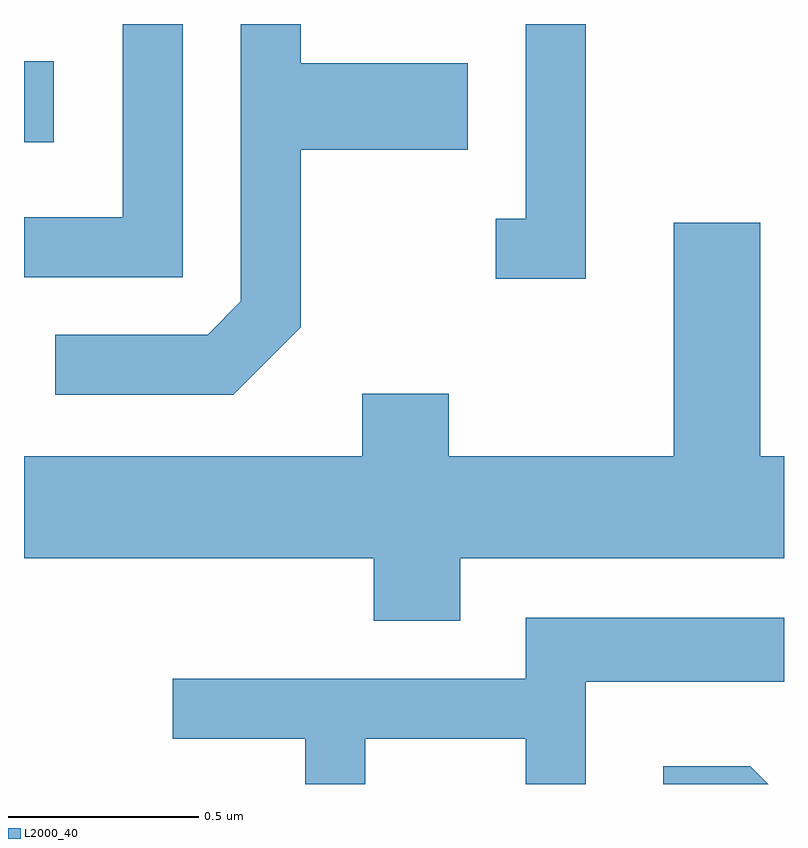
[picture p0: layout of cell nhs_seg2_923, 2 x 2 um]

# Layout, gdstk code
import gdstk
lib = gdstk.Library(unit=1e-6, precision=1e-09)
def R(c, l, rs):  # rectangles x0, y0, x1, y1
    for r in rs: c.add(gdstk.rectangle(r[:2], r[2:], *l))
def P(c, l, *ps):  # polygons
    for p in ps: c.add(gdstk.Polygon(p, *l))
L2000_40 = (2000, 40)

nhs_seg2_923 = lib.new_cell('nhs_seg2_923')
R(nhs_seg2_923, L2000_40, [(191.611,1080.491,191.689,1080.704)])
P(nhs_seg2_923, L2000_40, [(192.029,1080.802),(191.871,1080.802),(191.871,1080.294),(191.611,1080.294),(191.611,1080.136),(192.029,1080.136)],
  [(192.339,1080.004),(192.339,1080.471),(192.779,1080.471),(192.779,1080.699),(192.339,1080.699),(192.339,1080.802),(192.181,1080.802),(192.181,1080.072),(192.094,1079.984),(191.693,1079.984),(191.693,1079.826),(192.162,1079.826)],
  [(193.089,1080.802),(192.931,1080.802),(192.931,1080.289),(192.853,1080.289),(192.853,1080.131),(193.089,1080.131)],
  [(192.759,1079.396),(193.611,1079.396),(193.611,1079.664),(193.549,1079.664),(193.549,1080.279),(193.321,1080.279),(193.321,1079.664),(192.729,1079.664),(192.729,1079.829),(192.501,1079.829),(192.501,1079.664),(191.611,1079.664),(191.611,1079.396),(192.531,1079.396),(192.531,1079.231),(192.759,1079.231)],
  [(192.509,1078.921),(192.931,1078.921),(192.931,1078.802),(193.089,1078.802),(193.089,1079.071),(193.611,1079.071),(193.611,1079.239),(192.931,1079.239),(192.931,1079.079),(192.003,1079.079),(192.003,1078.921),(192.351,1078.921),(192.351,1078.802),(192.509,1078.802)],
  [(193.522,1078.849),(193.293,1078.849),(193.293,1078.802),(193.569,1078.802)])

lib.write_gds('nhs_seg2_923.gds')
